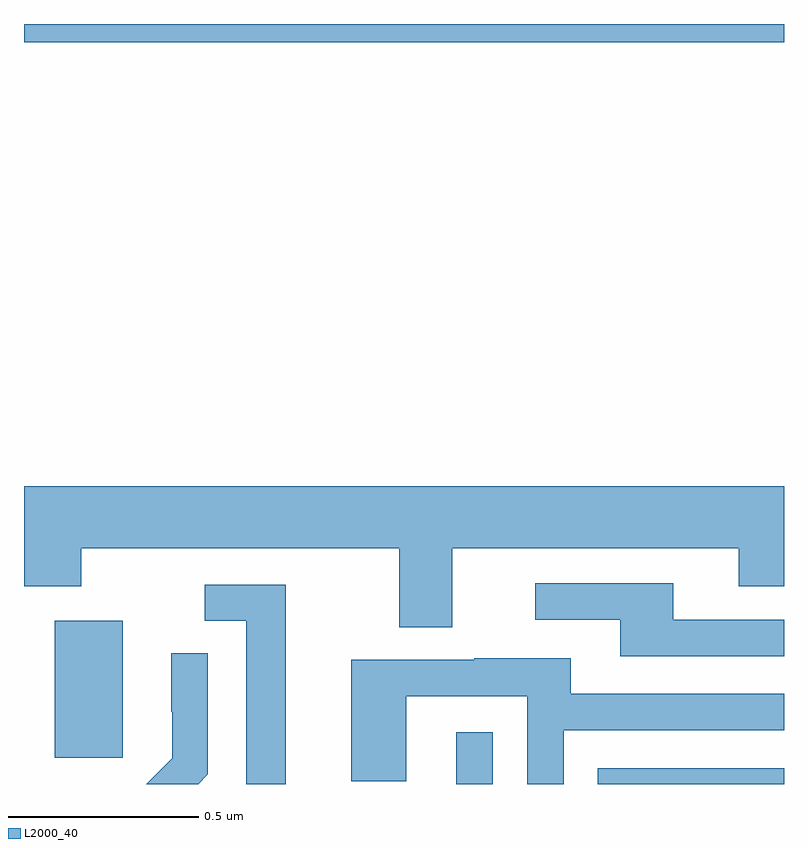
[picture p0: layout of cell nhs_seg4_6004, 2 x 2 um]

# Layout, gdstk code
import gdstk
lib = gdstk.Library(unit=1e-6, precision=1e-09)
def R(c, l, rs):  # rectangles x0, y0, x1, y1
    for r in rs: c.add(gdstk.rectangle(r[:2], r[2:], *l))
def P(c, l, *ps):  # polygons
    for p in ps: c.add(gdstk.Polygon(p, *l))
L2000_40 = (2000, 40)

nhs_seg4_6004 = lib.new_cell('nhs_seg4_6004')
R(nhs_seg4_6004, L2000_40, [(186.137,762.9,186.234,763.036), (186.51,762.9,187,762.942), (185.081,762.969,185.26,763.33), (185,764.852,187,764.9)])
P(nhs_seg4_6004, L2000_40, [(186.127,763.52),(186.881,763.52),(186.881,763.421),(187,763.421),(187,763.684),(185,763.684),(185,763.421),(185.151,763.421),(185.151,763.52),(185.987,763.52),(185.987,763.312),(186.127,763.312)],
  [(187,763.332),(186.709,763.332),(186.709,763.428),(186.345,763.428),(186.345,763.332),(186.569,763.332),(186.569,763.236),(187,763.236)],
  [(185.689,763.425),(185.475,763.425),(185.475,763.329),(185.585,763.329),(185.585,762.9),(185.689,762.9)],
  [(185.484,762.926),(185.484,763.244),(185.388,763.244),(185.388,763.09),(185.39,763.09),(185.39,762.968),(185.322,762.9),(185.458,762.9)],
  [(186.42,763.041),(187,763.041),(187,763.137),(186.439,763.137),(186.439,763.231),(186.185,763.231),(186.185,763.227),(185.861,763.227),(185.861,762.907),(186.006,762.907),(186.006,763.131),(186.324,763.131),(186.324,762.9),(186.42,762.9)])

lib.write_gds('nhs_seg4_6004.gds')
